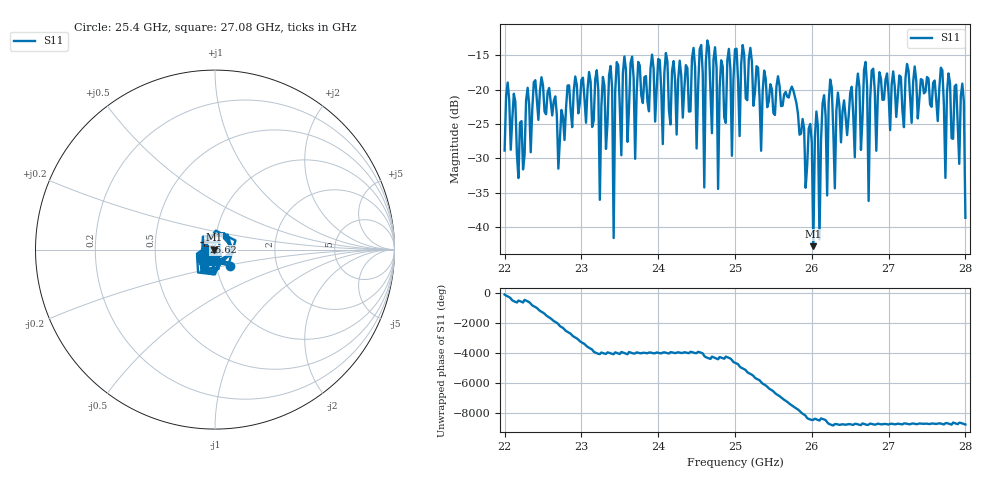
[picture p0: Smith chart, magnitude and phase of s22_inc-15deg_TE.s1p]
#  HZ  S  RI  R  50.00
! Rohde & Schwarz ZVA40 4Ports - Version 3.90 - 1145.1110k42 SN: 100403
! Date: 2023-10-04 08:29:50
! Measurement: S22
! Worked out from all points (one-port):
!   301 points, 22 GHz to 28 GHz, reference 50 ohm
!   lowest |S11| = -42.7 dB at 26.02 GHz (marker M1), VSWR 1.01, Z = 49.3 - j0.0293 ohm
!   |S11| at or under -10 dB: start of sweep to end of sweep
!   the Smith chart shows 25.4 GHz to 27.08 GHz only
!   S11 on the Smith chart (normalised r, x): 25.4 GHz: 1.16, -0.21; 25.62 GHz: 0.88, +0.08; 27.08 GHz: 0.88, -0.16
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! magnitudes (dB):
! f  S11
! 22 GHz  -28.9
! 22.76 GHz  -24.0
! 23.2 GHz  -17.2
! 23.24 GHz  -36.0
! 23.38 GHz  -16.6
! 23.42 GHz  -41.6
! 23.44 GHz  -20.3
! 23.5 GHz  -22.5
! 24.26 GHz  -18.6
! 24.56 GHz  -13.5
! 24.6 GHz  -34.2
! 24.74 GHz  -13.9
! 24.78 GHz  -34.4
! 25 GHz  -14.2
! 25.4 GHz  -18.4
! 25.62 GHz  -22.3
! 25.76 GHz  -20.1
! 26.02 GHz  -42.7
! 26.06 GHz  -23.2
! 26.1 GHz  -41.7
! 26.16 GHz  -20.8
! 26.5 GHz  -20.5
! 26.7 GHz  -16.0
! 26.74 GHz  -36.2
! 27.08 GHz  -19.6
! 27.26 GHz  -17.3
! 27.96 GHz  -19.1
! 28 GHz  -38.6
